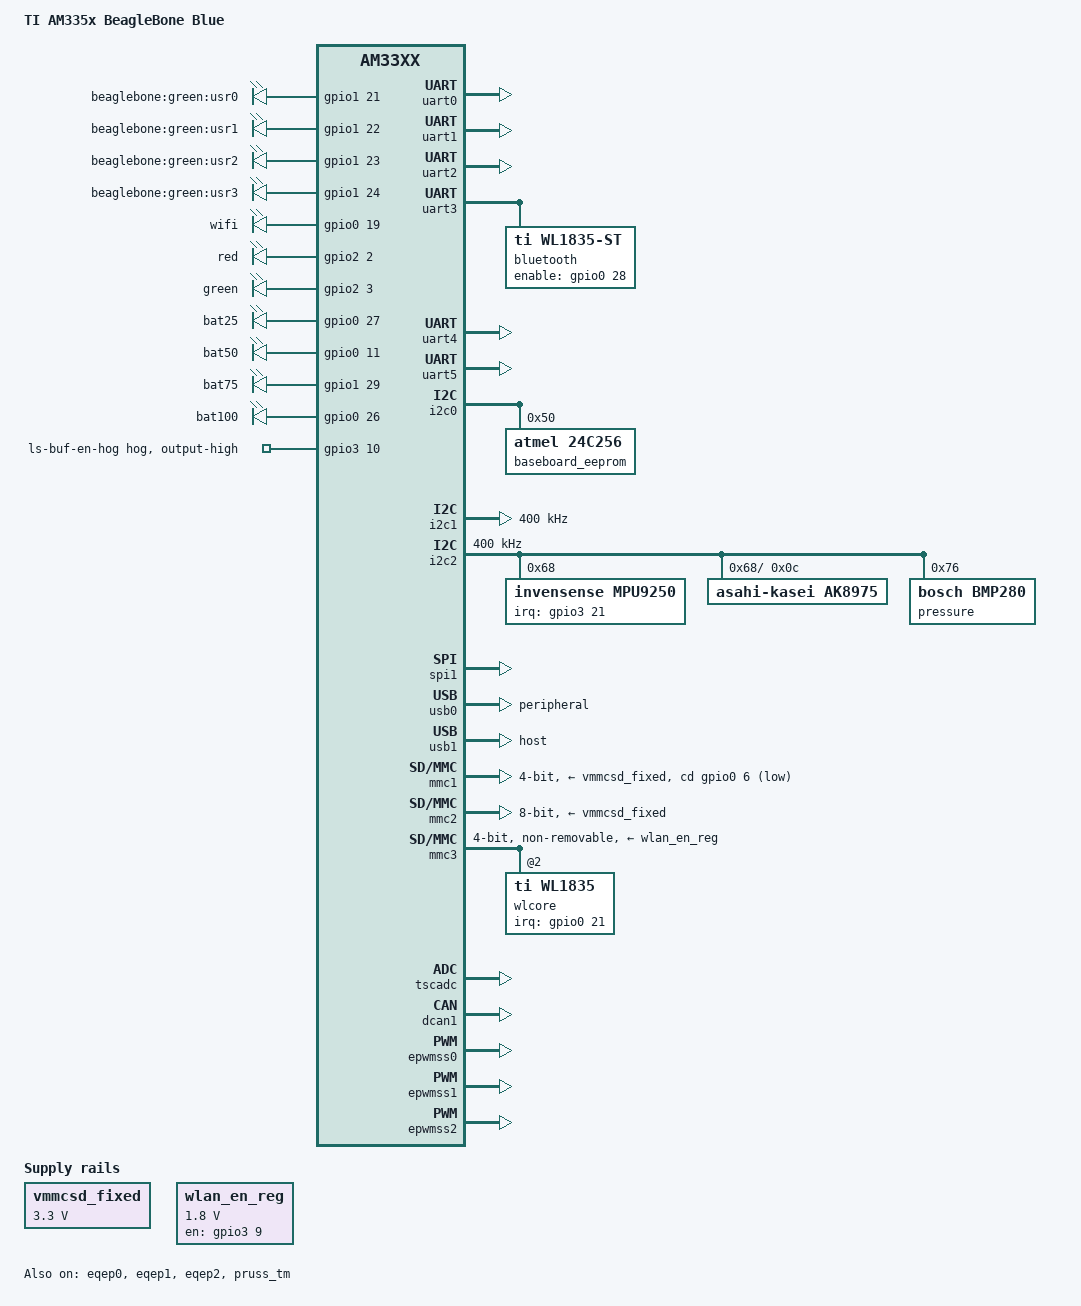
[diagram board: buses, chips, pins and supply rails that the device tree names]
// SPDX-License-Identifier: GPL-2.0-only
/*
 * Device Tree Source for TI AM335x BeagleBone Blue
 * Kernel: 5.10.x-ti (tested on 5.10.168-ti-r83)
 *
 * Based on the official TI DTS at:
 *   /opt/source/dtb-5.10-ti/src/arm/am335x-boneblue.dts
 *
 * Modifications for librobotcontrol compatibility:
 *   - Added pinmux groups for motor control GPIOs (MDIR_*, MOT_STBY)
 *   - Added pinmux groups for PRU servo outputs (8 channels + SERVO_EN)
 *   - Added pinmux group for PRU encoder input (P8_16 / PRU0_r31_16)
 *   - Added pinmux group for GP0 GPIO pins (GPIO3_17, GPIO3_20)
 *   - Corrected pinmux_spi1_pins: removed GPIO3_17 (mcasp0_ahclkx) which
 *     is not an SPI pin on the BBBlue; it is GP0_PIN_6
 *   - Added i2c1 pinmux and node (used by librobotcontrol for barometer)
 *   - Added SPI1 node with two spidev channels
 *   - Added eQEP count_mode / invert properties (kernel 5.10 counter ABI
 *     ignores these but they document the intended configuration)
 *   - Enabled PRU subsystem with RPMsg firmware for servo control
 *   - Configured gpio3 to apply GP0 pinmux at boot
 *
 * Authors: James Strawson (original librobotcontrol DTS, kernel 4.14)
 *          Port to kernel 5.10 - see project fork README for details
 */

/dts-v1/;

#include "am33xx.dtsi"
#include "am335x-osd335x-common.dtsi"
#include <dt-bindings/interrupt-controller/irq.h>
#include "am335x-bone-pins.h"

/ {
	model = "TI AM335x BeagleBone Blue";
	compatible = "ti,am335x-bone-blue", "ti,am33xx";

	chosen {
		stdout-path = &uart0;
		base_dtb = "am335x-boneblue.dts";
		base_dtb_timestamp = __TIMESTAMP__;
	};

	leds {
		pinctrl-names = "default";
		pinctrl-0 = <&user_leds_s0>;
		compatible = "gpio-leds";

		usr_0_led {
			label = "beaglebone:green:usr0";
			gpios = <&gpio1 21 GPIO_ACTIVE_HIGH>;
			linux,default-trigger = "heartbeat";
			default-state = "off";
		};
		usr_1_led {
			label = "beaglebone:green:usr1";
			gpios = <&gpio1 22 GPIO_ACTIVE_HIGH>;
			linux,default-trigger = "mmc0";
			default-state = "off";
		};
		usr_2_led {
			label = "beaglebone:green:usr2";
			gpios = <&gpio1 23 GPIO_ACTIVE_HIGH>;
			linux,default-trigger = "cpu0";
			default-state = "off";
		};
		usr_3_led {
			label = "beaglebone:green:usr3";
			gpios = <&gpio1 24 GPIO_ACTIVE_HIGH>;
			linux,default-trigger = "mmc1";
			default-state = "off";
		};
		wifi_led {
			label = "wifi";
			gpios = <&gpio0 19 GPIO_ACTIVE_HIGH>;
			default-state = "off";
			linux,default-trigger = "phy0assoc";
		};
		red_led {
			label = "red";
			gpios = <&gpio2 2 GPIO_ACTIVE_HIGH>;
			default-state = "off";
		};
		green_led {
			label = "green";
			gpios = <&gpio2 3 GPIO_ACTIVE_HIGH>;
			default-state = "off";
		};
		batt_1_led {
			label = "bat25";
			gpios = <&gpio0 27 GPIO_ACTIVE_HIGH>;
			default-state = "off";
		};
		batt_2_led {
			label = "bat50";
			gpios = <&gpio0 11 GPIO_ACTIVE_HIGH>;
			default-state = "off";
		};
		batt_3_led {
			label = "bat75";
			gpios = <&gpio1 29 GPIO_ACTIVE_HIGH>;
			default-state = "off";
		};
		batt_4_led {
			label = "bat100";
			gpios = <&gpio0 26 GPIO_ACTIVE_HIGH>;
			default-state = "off";
		};
	};

	vmmcsd_fixed: fixedregulator0 {
		compatible = "regulator-fixed";
		regulator-name = "vmmcsd_fixed";
		regulator-min-microvolt = <3300000>;
		regulator-max-microvolt = <3300000>;
	};

	wlan_en_reg: fixedregulator@2 {
		compatible = "regulator-fixed";
		regulator-name = "wlan-en-regulator";
		regulator-min-microvolt = <1800000>;
		regulator-max-microvolt = <1800000>;
		startup-delay-us = <70000>;
		gpio = <&gpio3 9 0>;
		enable-active-high;
	};
};

&am33xx_pinmux {

	/*
	 * ----------------------------------------------------------------
	 * LEDs
	 * ----------------------------------------------------------------
	 */
	user_leds_s0: user_leds_s0 {
		pinctrl-single,pins = <
			AM33XX_PADCONF(AM335X_PIN_GPMC_A5,       PIN_OUTPUT, MUX_MODE7) /* gpio1[21] USR_LED_0 */
			AM33XX_PADCONF(AM335X_PIN_GPMC_A6,       PIN_OUTPUT, MUX_MODE7) /* gpio1[22] USR_LED_1 */
			AM33XX_PADCONF(AM335X_PIN_GPMC_A7,       PIN_OUTPUT, MUX_MODE7) /* gpio1[23] USR_LED_2 */
			AM33XX_PADCONF(AM335X_PIN_GPMC_A8,       PIN_OUTPUT, MUX_MODE7) /* gpio1[24] USR_LED_3 */
			AM33XX_PADCONF(AM335X_PIN_XDMA_EVENT_INTR0, PIN_OUTPUT, MUX_MODE7) /* gpio0[19] WIFI_LED */
			AM33XX_PADCONF(AM335X_PIN_GPMC_ADVN_ALE, PIN_OUTPUT, MUX_MODE7) /* gpio2[2]  LED_RED  */
			AM33XX_PADCONF(AM335X_PIN_GPMC_OEN_REN,  PIN_OUTPUT, MUX_MODE7) /* gpio2[3]  LED_GREEN */
			AM33XX_PADCONF(AM335X_PIN_GPMC_AD11,     PIN_OUTPUT, MUX_MODE7) /* gpio0[27] BATT_LED_1 */
			AM33XX_PADCONF(AM335X_PIN_LCD_DATA15,    PIN_OUTPUT, MUX_MODE7) /* gpio0[11] BATT_LED_2 */
			AM33XX_PADCONF(AM335X_PIN_GPMC_CSN0,     PIN_OUTPUT, MUX_MODE7) /* gpio1[29] BATT_LED_3 */
			AM33XX_PADCONF(AM335X_PIN_GPMC_AD10,     PIN_OUTPUT, MUX_MODE7) /* gpio0[26] BATT_LED_4 */
		>;
	};

	/*
	 * ----------------------------------------------------------------
	 * I2C
	 * ----------------------------------------------------------------
	 */
	i2c1_pins: pinmux_i2c1_pins {
		pinctrl-single,pins = <
			AM33XX_PADCONF(AM335X_PIN_SPI0_D1,    PIN_INPUT_PULLUP, MUX_MODE2) /* (B16) spi0_d1.i2c1_sda */
			AM33XX_PADCONF(AM335X_PIN_SPI0_CS0,   PIN_INPUT_PULLUP, MUX_MODE2) /* (A16) spi0_cs0.i2c1_scl */
		>;
	};

	i2c2_pins: pinmux_i2c2_pins {
		pinctrl-single,pins = <
			AM33XX_PADCONF(AM335X_PIN_UART1_CTSN, PIN_INPUT_PULLUP, MUX_MODE3) /* (D18) uart1_ctsn.i2c2_sda */
			AM33XX_PADCONF(AM335X_PIN_UART1_RTSN, PIN_INPUT_PULLUP, MUX_MODE3) /* (D17) uart1_rtsn.i2c2_scl */
		>;
	};

	/*
	 * ----------------------------------------------------------------
	 * UARTs
	 * ----------------------------------------------------------------
	 */
	uart0_pins: pinmux_uart0_pins {
		pinctrl-single,pins = <
			AM33XX_PADCONF(AM335X_PIN_UART0_RXD, PIN_INPUT_PULLUP,    MUX_MODE0)
			AM33XX_PADCONF(AM335X_PIN_UART0_TXD, PIN_OUTPUT_PULLDOWN, MUX_MODE0)
		>;
	};

	uart1_pins: pinmux_uart1_pins {
		pinctrl-single,pins = <
			AM33XX_PADCONF(AM335X_PIN_UART1_RXD, PIN_INPUT_PULLUP,    MUX_MODE0)
			AM33XX_PADCONF(AM335X_PIN_UART1_TXD, PIN_OUTPUT_PULLDOWN, MUX_MODE0)
		>;
	};

	/* GPS */
	uart2_pins: pinmux_uart2_pins {
		pinctrl-single,pins = <
			AM33XX_PADCONF(AM335X_PIN_SPI0_SCLK, PIN_INPUT_PULLUP,    MUX_MODE1) /* (A17) spi0_sclk.uart2_rxd */
			AM33XX_PADCONF(AM335X_PIN_SPI0_D0,   PIN_OUTPUT_PULLDOWN, MUX_MODE1) /* (B17) spi0_d0.uart2_txd */
		>;
	};

	/* DSM2 */
	uart4_pins: pinmux_uart4_pins {
		pinctrl-single,pins = <
			AM33XX_PADCONF(AM335X_PIN_GPMC_WAIT0, PIN_INPUT_PULLUP, MUX_MODE6) /* (T17) gpmc_wait0.uart4_rxd */
		>;
	};

	/* UT5 */
	uart5_pins: pinmux_uart5_pins {
		pinctrl-single,pins = <
			AM33XX_PADCONF(AM335X_PIN_LCD_DATA9, PIN_INPUT_PULLUP,    MUX_MODE4) /* (U2) lcd_data9.uart5_rxd */
			AM33XX_PADCONF(AM335X_PIN_LCD_DATA8, PIN_OUTPUT_PULLDOWN, MUX_MODE4) /* (U1) lcd_data8.uart5_txd */
		>;
	};

	/* Bluetooth UART */
	uart3_pins: pinmux_uart3_pins {
		pinctrl-single,pins = <
			AM33XX_PADCONF(AM335X_PIN_MII1_RXD3, PIN_INPUT_PULLUP,    MUX_MODE1) /* (L17) uart3_rxd */
			AM33XX_PADCONF(AM335X_PIN_MII1_RXD2, PIN_OUTPUT_PULLDOWN, MUX_MODE1) /* (L16) uart3_txd */
			AM33XX_PADCONF(AM335X_PIN_MDIO,      PIN_INPUT,           MUX_MODE3) /* (M17) uart3_ctsn */
			AM33XX_PADCONF(AM335X_PIN_MDC,       PIN_OUTPUT_PULLDOWN, MUX_MODE3) /* (M18) uart3_rtsn */
		>;
	};

	/*
	 * ----------------------------------------------------------------
	 * SPI1 -- conector SPI de la BBBlue (SCLK, MISO, MOSI, SS1, SS2)
	 * NOTA: GPIO3_17 (mcasp0_ahclkx, GP0_PIN_6) NO es pin SPI en la
	 * BBBlue. El chip select del conector SPI fisico es SS1 (H18/SPI1_SS1)
	 * y SS2 (C18/SPI1_SS2), definidos mediante sus propios grupos.
	 * ----------------------------------------------------------------
	 */
	spi1_pins: pinmux_spi1_pins {
		pinctrl-single,pins = <
			AM33XX_PADCONF(AM335X_PIN_MCASP0_ACLKX, PIN_INPUT_PULLUP,  MUX_MODE3) /* (A13) SPI1_SCLK  GPIO3_14 */
			AM33XX_PADCONF(AM335X_PIN_MCASP0_FSX,   PIN_INPUT_PULLUP,  MUX_MODE3) /* (B13) SPI1_MISO  GPIO3_15 */
			AM33XX_PADCONF(AM335X_PIN_MCASP0_AXR0,  PIN_OUTPUT,        MUX_MODE3) /* (D12) SPI1_MOSI  GPIO3_16 */
			AM33XX_PADCONF(AM335X_PIN_ECAP0_IN_PWM0_OUT, PIN_OUTPUT,   MUX_MODE4) /* (C18) SPI1_SS2   GPIO0_7  */
		>;
	};

	/* SPI1 SS1 -- conector H18 */
	spi1_ss1_pin: pinmux_spi1_ss1_pin {
		pinctrl-single,pins = <
			AM33XX_PADCONF(AM335X_PIN_UART0_CTSN, PIN_OUTPUT, MUX_MODE2) /* (H18) SPI1_SS1 GPIO1_8 */
		>;
	};

	/*
	 * ----------------------------------------------------------------
	 * MMC
	 * ----------------------------------------------------------------
	 */
	mmc1_pins: pinmux_mmc1_pins {
		pinctrl-single,pins = <
			AM33XX_PADCONF(AM335X_PIN_SPI0_CS1, PIN_INPUT, MUX_MODE7)   /* (C15) gpio0[6] MMC0_CD */
		>;
	};

	mmc2_pins: pinmux_mmc2_pins {
		pinctrl-single,pins = <
			AM33XX_PADCONF(AM335X_PIN_GPMC_CSN1, PIN_INPUT_PULLUP, MUX_MODE2) /* (U9) mmc1_clk */
			AM33XX_PADCONF(AM335X_PIN_GPMC_CSN2, PIN_INPUT_PULLUP, MUX_MODE2) /* (V9) mmc1_cmd */
			AM33XX_PADCONF(AM335X_PIN_GPMC_AD0,  PIN_INPUT_PULLUP, MUX_MODE1) /* (U7) mmc1_dat0 */
			AM33XX_PADCONF(AM335X_PIN_GPMC_AD1,  PIN_INPUT_PULLUP, MUX_MODE1) /* (V7) mmc1_dat1 */
			AM33XX_PADCONF(AM335X_PIN_GPMC_AD2,  PIN_INPUT_PULLUP, MUX_MODE1) /* (R8) mmc1_dat2 */
			AM33XX_PADCONF(AM335X_PIN_GPMC_AD3,  PIN_INPUT_PULLUP, MUX_MODE1) /* (T8) mmc1_dat3 */
			AM33XX_PADCONF(AM335X_PIN_GPMC_AD4,  PIN_INPUT_PULLUP, MUX_MODE1) /* (U8) mmc1_dat4 */
			AM33XX_PADCONF(AM335X_PIN_GPMC_AD5,  PIN_INPUT_PULLUP, MUX_MODE1) /* (V8) mmc1_dat5 */
			AM33XX_PADCONF(AM335X_PIN_GPMC_AD6,  PIN_INPUT_PULLUP, MUX_MODE1) /* (R9) mmc1_dat6 */
			AM33XX_PADCONF(AM335X_PIN_GPMC_AD7,  PIN_INPUT_PULLUP, MUX_MODE1) /* (T9) mmc1_dat7 */
		>;
	};

	mmc3_pins: pinmux_mmc3_pins {
		pinctrl-single,pins = <
			AM33XX_PADCONF(AM335X_PIN_MII1_RXD1,  PIN_INPUT_PULLUP, MUX_MODE6) /* (L15) mmc2_clk */
			AM33XX_PADCONF(AM335X_PIN_MII1_TX_EN, PIN_INPUT_PULLUP, MUX_MODE6) /* (J16) mmc2_cmd */
			AM33XX_PADCONF(AM335X_PIN_MII1_RX_DV, PIN_INPUT_PULLUP, MUX_MODE5) /* (J17) mmc2_dat0 */
			AM33XX_PADCONF(AM335X_PIN_MII1_TXD3,  PIN_INPUT_PULLUP, MUX_MODE5) /* (J18) mmc2_dat1 */
			AM33XX_PADCONF(AM335X_PIN_MII1_TXD2,  PIN_INPUT_PULLUP, MUX_MODE5) /* (K15) mmc2_dat2 */
			AM33XX_PADCONF(AM335X_PIN_MII1_COL,   PIN_INPUT_PULLUP, MUX_MODE5) /* (H16) mmc2_dat3 */
		>;
	};

	/*
	 * ----------------------------------------------------------------
	 * WiFi / Bluetooth (WL18xx)
	 * ----------------------------------------------------------------
	 */
	wl18xx_pins: pinmux_wl18xx_pins {
		pinctrl-single,pins = <
			AM33XX_PADCONF(AM335X_PIN_MII1_TX_CLK, PIN_OUTPUT_PULLDOWN, MUX_MODE7) /* (K18) gpio3[9]  WL_EN */
			AM33XX_PADCONF(AM335X_PIN_MII1_TXD1,   PIN_INPUT_PULLDOWN,  MUX_MODE7) /* (K16) gpio0[21] WL_IRQ */
			AM33XX_PADCONF(AM335X_PIN_MII1_RX_CLK, PIN_OUTPUT_PULLUP,   MUX_MODE7) /* (L18) gpio3[10] LS_BUF_EN */
		>;
	};

	bt_pins: pinmux_bt_pins {
		pinctrl-single,pins = <
			AM33XX_PADCONF(AM335X_PIN_MII1_TXD0, PIN_OUTPUT_PULLUP, MUX_MODE7) /* (K17) gpio0[28] BT_EN */
		>;
	};

	/*
	 * ----------------------------------------------------------------
	 * CAN
	 * ----------------------------------------------------------------
	 */
	dcan1_pins: pinmux_dcan1_pins {
		pinctrl-single,pins = <
			AM33XX_PADCONF(AM335X_PIN_UART0_RTSN, PIN_INPUT,  MUX_MODE2) /* (E17) dcan1_rx */
			AM33XX_PADCONF(AM335X_PIN_UART0_CTSN, PIN_OUTPUT, MUX_MODE2) /* (E18) dcan1_tx */
			AM33XX_PADCONF(AM335X_PIN_MII1_RXD0,  PIN_OUTPUT, MUX_MODE7) /* (M16) gpio2[21] DCAN1_SILENT */
		>;
	};

	/*
	 * ----------------------------------------------------------------
	 * eQEP -- Encoders en cuadratura (canales 1, 2, 3)
	 * ----------------------------------------------------------------
	 */
	/* E1 -- conector encoder 1 */
	eqep0_pins: pinmux_eqep0_pins {
		pinctrl-single,pins = <
			AM33XX_PADCONF(AM335X_PIN_MCASP0_ACLKR, PIN_INPUT, MUX_MODE1) /* (B12) eQEP0A */
			AM33XX_PADCONF(AM335X_PIN_MCASP0_FSR,   PIN_INPUT, MUX_MODE1) /* (C13) eQEP0B */
		>;
	};

	/* E2 -- conector encoder 2 */
	eqep1_pins: pinmux_eqep1_pins {
		pinctrl-single,pins = <
			AM33XX_PADCONF(AM335X_PIN_LCD_DATA12, PIN_INPUT, MUX_MODE2) /* (V2) eQEP1A */
			AM33XX_PADCONF(AM335X_PIN_LCD_DATA13, PIN_INPUT, MUX_MODE2) /* (V3) eQEP1B */
		>;
	};

	/* E3 -- conector encoder 3 */
	eqep2_pins: pinmux_eqep2_pins {
		pinctrl-single,pins = <
			AM33XX_PADCONF(AM335X_PIN_GPMC_AD12, PIN_INPUT, MUX_MODE4) /* (T12) eQEP2A */
			AM33XX_PADCONF(AM335X_PIN_GPMC_AD13, PIN_INPUT, MUX_MODE4) /* (R12) eQEP2B */
		>;
	};

	/*
	 * ----------------------------------------------------------------
	 * PRU -- Encoder canal 4 (entrada PRU0)
	 * ----------------------------------------------------------------
	 */
	pru_encoder_pins: pinmux_pru_encoder_pins {
		pinctrl-single,pins = <
			AM33XX_PADCONF(AM335X_PIN_GPMC_CLK, PIN_INPUT, MUX_MODE6) /* (V12) P8_16 PRU0_r31_16 */
		>;
	};

	/*
	 * ----------------------------------------------------------------
	 * PRU -- Salidas servo (8 canales) + SERVO_EN
	 * Pines en modo PRU output (MUX_MODE5)
	 * ----------------------------------------------------------------
	 */
	servo_pins: pinmux_servo_pins {
		pinctrl-single,pins = <
			/* PRU1 outputs -- modo 5, offset 0x0d en DTB */
			AM33XX_PADCONF(AM335X_PIN_LCD_DATA16, PIN_OUTPUT, MUX_MODE5) /* (U5)  0x0E0 pru1_r30_8  SVO1 */
			AM33XX_PADCONF(AM335X_PIN_LCD_DATA18, PIN_OUTPUT, MUX_MODE5) /* (V5)  0x0E8 pru1_r30_10 SVO2 */
			AM33XX_PADCONF(AM335X_PIN_LCD_DATA17, PIN_OUTPUT, MUX_MODE5) /* (R5)  0x0E4 pru1_r30_9  SVO3 */
			AM33XX_PADCONF(AM335X_PIN_LCD_DATA19, PIN_OUTPUT, MUX_MODE5) /* (R6)  0x0EC pru1_r30_11 SVO4 */
			AM33XX_PADCONF(AM335X_PIN_LCD_DATA6,  PIN_OUTPUT, MUX_MODE5) /* (T3)  0x0B8 pru1_r30_6  SVO5 */
			AM33XX_PADCONF(AM335X_PIN_LCD_DATA7,  PIN_OUTPUT, MUX_MODE5) /* (T4)  0x0BC pru1_r30_7  SVO6 */
			AM33XX_PADCONF(AM335X_PIN_LCD_DATA4,  PIN_OUTPUT, MUX_MODE5) /* (T1)  0x0B0 pru1_r30_4  SVO7 */
			AM33XX_PADCONF(AM335X_PIN_LCD_DATA5,  PIN_OUTPUT, MUX_MODE5) /* (T2)  0x0B4 pru1_r30_5  SVO8 */
			/* SERVO_EN -- GPIO output, modo 7 */
			AM33XX_PADCONF(AM335X_PIN_LCD_DATA10, PIN_OUTPUT, MUX_MODE7) /* (U3)  0x0C8 gpio2[16]   SERVO_EN */
		>;
	};

	/*
	 * ----------------------------------------------------------------
	 * Motor control GPIOs (MDIR_*, MOT_STBY)
	 * ----------------------------------------------------------------
	 */
	motor_pins: pinmux_motor_pins {
		pinctrl-single,pins = <
			AM33XX_PADCONF(AM335X_PIN_GPMC_CSN3,        PIN_OUTPUT, MUX_MODE7) /* (T13) 0x088 gpio2[0]  MDIR_1A */
			AM33XX_PADCONF(AM335X_PIN_GPMC_WPN,         PIN_OUTPUT, MUX_MODE7) /* (U17) 0x074 gpio0[31] MDIR_1B */
			AM33XX_PADCONF(AM335X_PIN_GPMC_A0,          PIN_OUTPUT, MUX_MODE7) /* (R13) 0x040 gpio1[16] MDIR_2A */
			AM33XX_PADCONF(AM335X_PIN_LCD_DATA14,       PIN_OUTPUT, MUX_MODE7) /* (V4)  0x0D8 gpio0[10] MDIR_2B */
			AM33XX_PADCONF(AM335X_PIN_LCD_DATA3,        PIN_OUTPUT, MUX_MODE7) /* (R4)  0x0AC gpio2[9]  MDIR_3A */
			AM33XX_PADCONF(AM335X_PIN_LCD_DATA2,        PIN_OUTPUT, MUX_MODE7) /* (R3)  0x0A8 gpio2[8]  MDIR_3B */
			AM33XX_PADCONF(AM335X_PIN_LCD_DATA0,        PIN_OUTPUT, MUX_MODE7) /* (R1)  0x0A0 gpio2[6]  MDIR_4A */
			AM33XX_PADCONF(AM335X_PIN_LCD_DATA1,        PIN_OUTPUT, MUX_MODE7) /* (R2)  0x0A4 gpio2[7]  MDIR_4B */
			AM33XX_PADCONF(AM335X_PIN_XDMA_EVENT_INTR1, PIN_OUTPUT, MUX_MODE7) /* (D14) 0x1B4 gpio0[20] MOT_STBY */
		>;
	};

	/*
	 * ----------------------------------------------------------------
	 * GP0 connector GPIO pins
	 *
	 * GPIO3_17 (mcasp0_ahclkx, C12): GP0_PIN_6
	 *   - Nota: este pin es SPI1_CS0 en modo 3, pero en la BBBlue el
	 *     conector SPI usa SS1/SS2 distintos. Se configura como GPIO.
	 *
	 * GPIO3_20 (mcasp0_ahclkr, D13): GP0_PIN_5
	 *
	 * GPIO1_17 (V14) y GPIO1_25 (U16) ya estan en modo 7 desde el DTB
	 * base y no requieren grupo explicito.
	 * ----------------------------------------------------------------
	 */
	gpio_gp0_pins: pinmux_gpio_gp0_pins {
		pinctrl-single,pins = <
			AM33XX_PADCONF(AM335X_PIN_MCASP0_AHCLKX, PIN_INPUT_PULLUP, MUX_MODE7) /* (C12) gpio3[17] GP0_PIN_6 */
			AM33XX_PADCONF(AM335X_PIN_MCASP0_AHCLKR, PIN_INPUT_PULLUP, MUX_MODE7) /* (D13) gpio3[20] GP0_PIN_5 */
		>;
	};

	/*
	 * ----------------------------------------------------------------
	 * MPU-9250 interrupt input
	 * ----------------------------------------------------------------
	 */
	mpu9250_pins: pinmux_mpu9250_pins {
		pinctrl-single,pins = <
			AM33XX_PADCONF(AM335X_PIN_MCASP0_AXR1, PIN_INPUT_PULLUP, MUX_MODE7) /* (A14) gpio3[21] IMU_INT */
		>;
	};
};

/*
 * ================================================================
 * UARTs
 * ================================================================
 */
&uart0 {
	pinctrl-names = "default";
	pinctrl-0 = <&uart0_pins>;
	status = "okay";
};

&uart1 {
	pinctrl-names = "default";
	pinctrl-0 = <&uart1_pins>;
	status = "okay";
};

&uart2 {
	pinctrl-names = "default";
	pinctrl-0 = <&uart2_pins>;
	status = "okay";
};

&uart3 {
	pinctrl-names = "default";
	pinctrl-0 = <&uart3_pins &bt_pins>;
	status = "okay";

	bluetooth {
		compatible = "ti,wl1835-st";
		enable-gpios = <&gpio0 28 GPIO_ACTIVE_HIGH>;
	};
};

&uart4 {
	pinctrl-names = "default";
	pinctrl-0 = <&uart4_pins>;
	status = "okay";
};

&uart5 {
	pinctrl-names = "default";
	pinctrl-0 = <&uart5_pins>;
	status = "okay";
};

/*
 * ================================================================
 * I2C
 * ================================================================
 */
&i2c0 {
	baseboard_eeprom: baseboard_eeprom@50 {
		compatible = "atmel,24c256";
		reg = <0x50>;
		#address-cells = <1>;
		#size-cells = <1>;
		baseboard_data: baseboard_data@0 {
			reg = <0 0x100>;
		};
	};
};

&i2c1 {
	pinctrl-names = "default";
	pinctrl-0 = <&i2c1_pins>;
	status = "okay";
	clock-frequency = <400000>;
};

&i2c2 {
	pinctrl-names = "default";
	pinctrl-0 = <&i2c2_pins>;
	status = "okay";
	clock-frequency = <400000>;

	mpu9250@68 {
		compatible = "invensense,mpu9250";
		reg = <0x68>;
		interrupt-parent = <&gpio3>;
		interrupts = <21 IRQ_TYPE_EDGE_RISING>;
		i2c-gate {
			#address-cells = <1>;
			#size-cells = <0>;
			ak8975@c {
				compatible = "asahi-kasei,ak8975";
				reg = <0x0c>;
			};
		};
	};

	pressure@76 {
		compatible = "bosch,bmp280";
		reg = <0x76>;
	};
};

/*
 * ================================================================
 * SPI1 -- dos canales spidev (SS1 y SS2 del conector SPI BBBlue)
 * ================================================================
 */
&spi1 {
	pinctrl-names = "default";
	pinctrl-0 = <&spi1_pins &spi1_ss1_pin>;
	status = "okay";
	#address-cells = <1>;
	#size-cells = <0>;

	channel@0 {
		compatible = "spidev";
		reg = <0>;
		spi-max-frequency = <24000000>;
	};

	channel@1 {
		compatible = "spidev";
		reg = <1>;
		spi-max-frequency = <24000000>;
	};
};

/*
 * ================================================================
 * USB
 * ================================================================
 */
&usb0 {
	dr_mode = "peripheral";
	interrupts-extended = <&intc 18 &tps 0>;
	interrupt-names = "mc", "vbus";
};

&usb1 {
	dr_mode = "host";
};

/*
 * ================================================================
 * MMC
 * ================================================================
 */
&mmc1 {
	status = "okay";
	vmmc-supply = <&vmmcsd_fixed>;
	bus-width = <4>;
	pinctrl-names = "default";
	pinctrl-0 = <&mmc1_pins>;
	cd-gpios = <&gpio0 6 GPIO_ACTIVE_LOW>;
};

&mmc2 {
	status = "okay";
	vmmc-supply = <&vmmcsd_fixed>;
	bus-width = <8>;
	pinctrl-names = "default";
	pinctrl-0 = <&mmc2_pins>;
};

&mmc3 {
	dmas = <&edma_xbar 12 0 1
		&edma_xbar 13 0 2>;
	dma-names = "tx", "rx";
	status = "okay";
	vmmc-supply = <&wlan_en_reg>;
	bus-width = <4>;
	non-removable;
	cap-power-off-card;
	keep-power-in-suspend;
	pinctrl-names = "default";
	pinctrl-0 = <&mmc3_pins &wl18xx_pins>;

	#address-cells = <1>;
	#size-cells = <0>;
	wlcore: wlcore@2 {
		compatible = "ti,wl1835";
		reg = <2>;
		interrupt-parent = <&gpio0>;
		interrupts = <21 IRQ_TYPE_EDGE_RISING>;
	};
};

/*
 * ================================================================
 * PMIC TPS65217
 * ================================================================
 */
/include/ "tps65217.dtsi"

&tps {
	/delete-property/ ti,pmic-shutdown-controller;

	charger {
		interrupts = <0>, <1>;
		interrupt-names = "USB", "AC";
		status = "okay";
	};
};

/*
 * ================================================================
 * ADC / TSCADC
 * ================================================================
 */
&tscadc {
	status = "okay";
	adc {
		ti,adc-channels = <0 1 2 3 4 5 6 7>;
	};
};

/*
 * ================================================================
 * CAN
 * ================================================================
 */
&dcan1 {
	pinctrl-names = "default";
	pinctrl-0 = <&dcan1_pins>;
	status = "okay";
};

/*
 * ================================================================
 * RTC
 * ================================================================
 */
&rtc {
	system-power-controller;
	clocks = <&clk_32768_ck>, <&clk_24mhz_clkctrl AM3_CLK_24MHZ_CLKDIV32K_CLKCTRL 0>;
	clock-names = "ext-clk", "int-clk";
};

/*
 * ================================================================
 * eQEP -- Encoders en cuadratura (canales 1-3)
 * El driver ti-eqep expone los contadores via el subsistema counter.
 * El modulo ti-eqep.ko debe estar cargado (anadir a modules-load.d).
 * ================================================================
 */
&epwmss0 {
	status = "okay";
};

&eqep0 {
	pinctrl-names = "default";
	pinctrl-0 = <&eqep0_pins>;
	status = "okay";
};

&epwmss1 {
	status = "okay";
};

&eqep1 {
	pinctrl-names = "default";
	pinctrl-0 = <&eqep1_pins>;
	status = "okay";
};

&epwmss2 {
	status = "okay";
};

&eqep2 {
	pinctrl-names = "default";
	pinctrl-0 = <&eqep2_pins>;
	status = "okay";
};

/*
 * ================================================================
 * PRU -- Subsistema PRU-ICSS
 * PRU0: encoder canal 4 (pendiente port a RPMsg)
 * PRU1: firmware de servos via RPMsg (/dev/rpmsg_pru31)
 * ================================================================
 */
&pruss_tm {
	status = "okay";
};

&pru0 {
	firmware-name = "am335x-pru0-fw";
	pinctrl-names = "default";
	pinctrl-0 = <&pru_encoder_pins>;
};

&pru1 {
	firmware-name = "am335x-pru1-rc-servo-fw";
	pinctrl-names = "default";
	pinctrl-0 = <&servo_pins>;
};

/*
 * ================================================================
 * GPIO -- configuracion de pines y line names
 * ================================================================
 */
&gpio0 {
	gpio-line-names =
		"UART3_CTS",  /* M17 */
		"UART3_RTS",  /* M18 */
		"UART2_RX",   /* A17 */
		"UART2_TX",   /* B17 */
		"I2C1_SDA",   /* B16 */
		"I2C1_SCL",   /* A16 */
		"MMC0_CD",    /* C15 */
		"SPI1_SS2",   /* C18 */
		"EQEP_1A",    /* V2  */
		"EQEP_1B",    /* V3  */
		"MDIR_2B",    /* V4  */
		"BATT_LED_2", /* T5  */
		"I2C2_SDA",   /* D18 */
		"I2C2_SCL",   /* D17 */
		"UART1_RX",   /* D16 */
		"UART1_TX",   /* D15 */
		"MMC2_DAT1",  /* J18 */
		"MMC2_DAT2",  /* K15 */
		"NC",         /* F16 */
		"WIFI_LED",   /* A15 */
		"MOT_STBY",   /* D14 */
		"WLAN_IRQ",   /* K16 */
		"PWM_2A",     /* U10 */
		"PWM_2B",     /* T10 */
		"",
		"",
		"BATT_LED_4", /* T11 */
		"BATT_LED_1", /* U12 */
		"BT_EN",      /* K17 */
		"SPI1_SS1",   /* H18 */
		"UART4_RX",   /* T17 */
		"MDIR_1B";    /* U17 */
};

&gpio1 {
	gpio-line-names =
		"MMC1_DAT0",  /* U7  */
		"MMC1_DAT1",  /* V7  */
		"MMC1_DAT2",  /* R8  */
		"MMC1_DAT3",  /* T8  */
		"MMC1_DAT4",  /* U8  */
		"MMC1_DAT5",  /* V8  */
		"MMC1_DAT6",  /* R9  */
		"MMC1_DAT7",  /* T9  */
		"DCAN1_TX",   /* E18 */
		"DCAN1_RX",   /* E17 */
		"UART0_RX",   /* E15 */
		"UART0_TX",   /* E16 */
		"EQEP_2A",    /* T12 */
		"EQEP_2B",    /* R12 */
		"PRU_E_A",    /* V13 */
		"PRU_E_B",    /* U13 */
		"MDIR_2A",    /* R13 */
		"GPIO1_17",   /* V14 */
		"PWM_1A",     /* U14 */
		"PWM_1B",     /* T14 */
		"EMMC_RST",   /* R14 */
		"USR_LED_0",  /* V15 */
		"USR_LED_1",  /* U15 */
		"USR_LED_2",  /* T15 */
		"USR_LED_3",  /* V16 */
		"GPIO1_25",   /* U16 */
		"MCASP0_AXR0", /* T16 */
		"MCASP0_AXR1", /* V17 */
		"MCASP0_ACLKR", /* U18 */
		"BATT_LED_3", /* V6  */
		"MMC1_CLK",   /* U9  */
		"MMC1_CMD";   /* V9  */
};

&gpio2 {
	gpio-line-names =
		"MDIR_1A",    /* T13 */
		"MCASP0_FSR", /* V12 */
		"LED_RED",    /* R7  */
		"LED_GREEN",  /* T7  */
		"MODE_BTN",   /* U6  */
		"PAUSE_BTN",  /* T6  */
		"MDIR_4A",    /* R1  */
		"MDIR_4B",    /* R2  */
		"MDIR_3B",    /* R3  */
		"MDIR_3A",    /* R4  */
		"SVO7",       /* T1  */
		"SVO8",       /* T2  */
		"SVO5",       /* T3  */
		"SVO6",       /* T4  */
		"UART5_TX",   /* U1  */
		"UART5_RX",   /* U2  */
		"SERVO_EN",   /* U3  */
		"NC",         /* U4  */
		"UART3_RX",   /* L17 */
		"UART3_TX",   /* L16 */
		"MMC2_CLK",   /* L15 */
		"DCAN1_SILENT", /* M16 */
		"SVO1",       /* U5  */
		"SVO3",       /* R5  */
		"SVO2",       /* V5  */
		"SVO4",       /* R6  */
		"MMC0_DAT3",  /* F17 */
		"MMC0_DAT2",  /* F18 */
		"MMC0_DAT1",  /* G15 */
		"MMC0_DAT0",  /* G16 */
		"MMC0_CLK",   /* G17 */
		"MMC0_CMD";   /* G18 */
};

&gpio3 {
	/*
	 * Aplicar pinmux de los pines GP0 (GPIO3_17 y GPIO3_20) al arrancar.
	 * Sin este pinctrl, esos pines quedan en su funcion por defecto
	 * (mcasp0_ahclkx / mcasp0_ahclkr) y no responden como GPIO.
	 */
	pinctrl-names = "default";
	pinctrl-0 = <&gpio_gp0_pins>;

	gpio-line-names =
		"MMC2_DAT3",  /* H16 */
		"GPIO3_1",    /* H17 */
		"GPIO3_2",    /* J15 */
		"MMC2_CMD",   /* J16 */
		"MMC2_DAT0",  /* J17 */
		"I2C0_SDA",   /* C17 */
		"I2C0_SCL",   /* C16 */
		"EMU1",       /* C14 */
		"EMU0",       /* B14 */
		"WL_EN",      /* K18 */
		"WL_BT_OE",   /* L18 */
		"",
		"",
		"NC",         /* F15 */
		"SPI1_SCK",   /* A13 */
		"SPI1_MISO",  /* B13 */
		"SPI1_MOSI",  /* D12 */
		"GPIO3_17",   /* C12 GP0_PIN_6 */
		"EQEP_0A",    /* B12 */
		"EQEP_0B",    /* C13 */
		"GPIO3_20",   /* D13 GP0_PIN_5 */
		"IMU_INT",    /* A14 */
		"", "", "", "", "", "", "", "", "", "";

	ls-buf-en-hog {
		gpio-hog;
		gpios = <10 GPIO_ACTIVE_HIGH>;
		output-high;
	};
};

&wkup_m3_ipc {
	ti,scale-data-fw = "am335x-bone-scale-data.bin";
};
